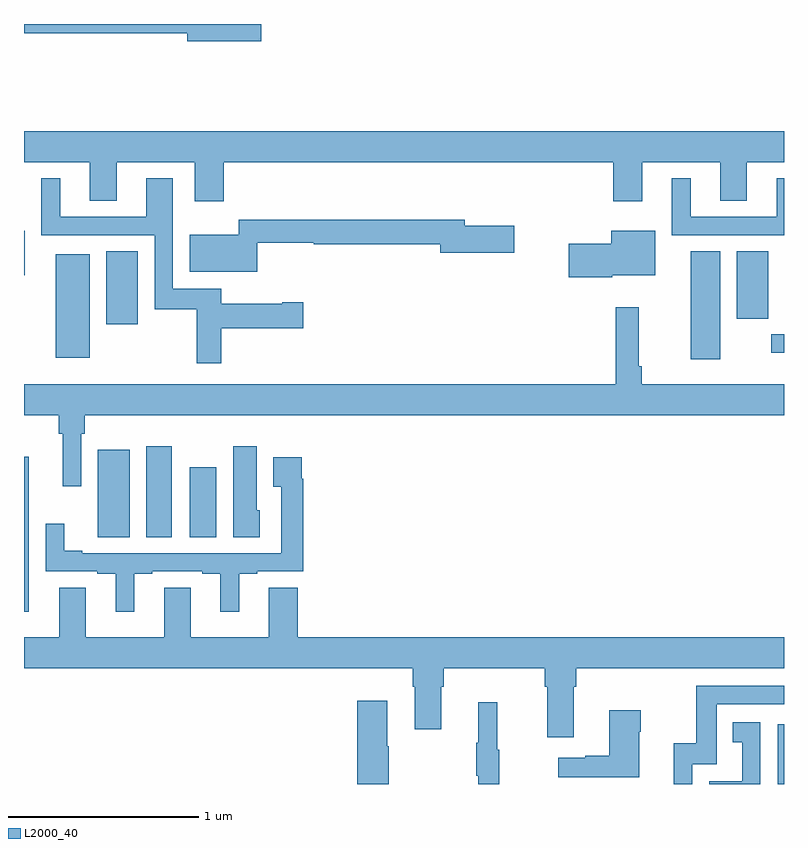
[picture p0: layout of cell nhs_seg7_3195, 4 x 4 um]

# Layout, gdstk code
import gdstk
lib = gdstk.Library(unit=1e-6, precision=1e-09)
def R(c, l, rs):  # rectangles x0, y0, x1, y1
    for r in rs: c.add(gdstk.rectangle(r[:2], r[2:], *l))
def P(c, l, *ps):  # polygons
    for p in ps: c.add(gdstk.Polygon(p, *l))
L2000_40 = (2000, 40)

nhs_seg7_3195 = lib.new_cell('nhs_seg7_3195')
R(nhs_seg7_3195, L2000_40, [(318.966,1008,319,1008.315), (315.389,1009.3,315.556,1009.759), (315.644,1009.3,315.778,1009.777), (315.872,1009.3,316.012,1009.666), (318.509,1010.235,318.664,1010.804), (315.167,1010.243,315.346,1010.788), (318.933,1010.27,319,1010.367), (315.434,1010.42,315.598,1010.804), (318.752,1010.448,318.916,1010.804), (315,1010.678,315.004,1010.911)])
P(nhs_seg7_3195, L2000_40, [(316.249,1012),(315,1012),(315,1011.952),(315.86,1011.952),(315.86,1011.91),(316.249,1011.91)],
  [(316.052,1011.272),(318.101,1011.272),(318.101,1011.066),(318.253,1011.066),(318.253,1011.272),(318.665,1011.272),(318.665,1011.07),(318.805,1011.07),(318.805,1011.272),(319,1011.272),(319,1011.436),(315,1011.436),(315,1011.272),(315.347,1011.272),(315.347,1011.07),(315.487,1011.07),(315.487,1011.272),(315.899,1011.272),(315.899,1011.066),(316.052,1011.066)],
  [(316.037,1010.398),(316.471,1010.398),(316.471,1010.535),(316.358,1010.535),(316.358,1010.527),(316.037,1010.527),(316.037,1010.607),(315.783,1010.607),(315.783,1011.187),(315.644,1011.187),(315.644,1010.985),(315.19,1010.985),(315.19,1011.187),(315.092,1011.187),(315.092,1010.889),(315.687,1010.889),(315.687,1010.499),(315.909,1010.499),(315.909,1010.214),(316.037,1010.214)],
  [(319,1011.187),(318.962,1011.187),(318.962,1010.985),(318.508,1010.985),(318.508,1011.187),(318.41,1011.187),(318.41,1010.889),(319,1010.889)],
  [(316.227,1010.85),(316.524,1010.85),(316.524,1010.842),(317.192,1010.842),(317.192,1010.795),(317.581,1010.795),(317.581,1010.937),(317.32,1010.937),(317.32,1010.971),(316.131,1010.971),(316.131,1010.89),(315.872,1010.89),(315.872,1010.696),(316.227,1010.696)],
  [(318.096,1010.678),(318.322,1010.678),(318.322,1010.911),(318.092,1010.911),(318.092,1010.844),(317.868,1010.844),(317.868,1010.666),(318.096,1010.666)],
  [(315.3,1009.844),(315.32,1009.844),(315.32,1009.94),(319,1009.94),(319,1010.104),(318.251,1010.104),(318.251,1010.2),(318.236,1010.2),(318.236,1010.509),(318.115,1010.509),(318.115,1010.104),(315,1010.104),(315,1009.94),(315.184,1009.94),(315.184,1009.844),(315.203,1009.844),(315.203,1009.566),(315.3,1009.566)],
  [(316.24,1009.44),(316.225,1009.44),(316.225,1009.777),(316.1,1009.777),(316.1,1009.3),(316.24,1009.3)],
  [(315.024,1009.42),(315.026,1009.42),(315.026,1009.723),(315,1009.723),(315,1008.906),(315.024,1008.906)],
  [(315.58,1009.107),(315.676,1009.107),(315.676,1009.119),(315.938,1009.119),(315.938,1009.107),(316.034,1009.107),(316.034,1008.906),(316.132,1008.906),(316.132,1009.107),(316.228,1009.107),(316.228,1009.119),(316.469,1009.119),(316.469,1009.607),(316.462,1009.607),(316.462,1009.72),(316.313,1009.72),(316.313,1009.564),(316.353,1009.564),(316.353,1009.215),(315.307,1009.215),(315.307,1009.228),(315.211,1009.228),(315.211,1009.369),(315.114,1009.369),(315.114,1009.119),(315.386,1009.119),(315.386,1009.107),(315.482,1009.107),(315.482,1008.906),(315.58,1008.906)],
  [(317.893,1008.512),(317.906,1008.512),(317.906,1008.608),(319,1008.608),(319,1008.772),(316.442,1008.772),(316.442,1009.034),(316.289,1009.034),(316.289,1008.772),(315.877,1008.772),(315.877,1009.034),(315.737,1009.034),(315.737,1008.772),(315.325,1008.772),(315.325,1009.034),(315.185,1009.034),(315.185,1008.772),(315,1008.772),(315,1008.608),(317.045,1008.608),(317.045,1008.512),(317.057,1008.512),(317.057,1008.288),(317.197,1008.288),(317.197,1008.512),(317.21,1008.512),(317.21,1008.608),(317.741,1008.608),(317.741,1008.512),(317.753,1008.512),(317.753,1008.246),(317.893,1008.246)],
  [(318.516,1008.105),(318.645,1008.105),(318.645,1008.42),(319,1008.42),(319,1008.516),(318.537,1008.516),(318.537,1008.214),(318.419,1008.214),(318.419,1008),(318.516,1008)],
  [(316.92,1008.2),(316.912,1008.2),(316.912,1008.439),(316.754,1008.439),(316.754,1008),(316.92,1008)],
  [(317.5,1008.18),(317.492,1008.18),(317.492,1008.43),(317.39,1008.43),(317.39,1008.217),(317.379,1008.217),(317.379,1008.043),(317.39,1008.043),(317.39,1008),(317.5,1008)],
  [(318.238,1008.275),(318.246,1008.275),(318.246,1008.388),(318.08,1008.388),(318.08,1008.149),(317.954,1008.149),(317.954,1008.139),(317.811,1008.139),(317.811,1008.035),(318.238,1008.035)],
  [(318.876,1008.325),(318.73,1008.325),(318.73,1008.219),(318.779,1008.219),(318.779,1008.015),(318.606,1008.015),(318.606,1008),(318.876,1008)])

lib.write_gds('nhs_seg7_3195.gds')
